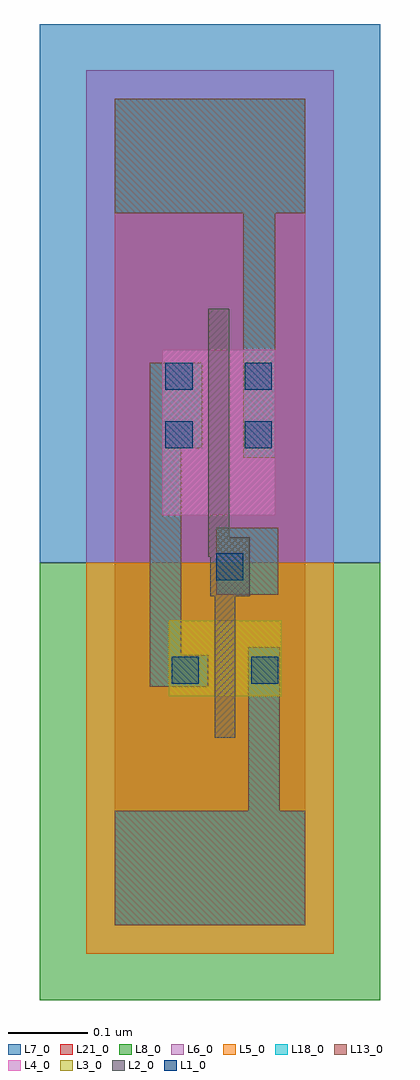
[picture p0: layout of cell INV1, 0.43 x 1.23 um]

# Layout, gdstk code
import gdstk
lib = gdstk.Library(unit=1e-6, precision=1e-09)
def R(c, l, rs):  # rectangles x0, y0, x1, y1
    for r in rs: c.add(gdstk.rectangle(r[:2], r[2:], *l))
L1_0 = (1, 0)
L2_0 = (2, 0)
L3_0 = (3, 0)
L4_0 = (4, 0)
L5_0 = (5, 0)
L6_0 = (6, 0)
L7_0 = (7, 0)
L8_0 = (8, 0)
L13_0 = (13, 0)
L18_0 = (18, 0)
L21_0 = (21, 0)

inv1 = lib.new_cell('INV1')
R(inv1, L1_0, [(0.072,0.304,0.106,0.338), (0.172,0.304,0.206,0.338), (0.128,0.434,0.162,0.468), (0.064,0.6,0.098,0.634), (0.164,0.6,0.198,0.634), (0.064,0.674,0.098,0.708), (0.164,0.674,0.198,0.708)])
R(inv1, L2_0, [(0.126,0.236,0.152,0.436), (0.126,0.412,0.15,0.436), (0.126,0.412,0.15,0.438), (0.12,0.414,0.17,0.488), (0.126,0.414,0.15,0.438), (0.118,0.464,0.144,0.776), (0.12,0.464,0.144,0.488)])
R(inv1, L3_0, [(0.068,0.288,0.11,0.384), (0.068,0.288,0.21,0.384), (0.168,0.288,0.21,0.384)])
R(inv1, L4_0, [(0.06,0.516,0.102,0.724), (0.06,0.516,0.202,0.724), (0.16,0.516,0.202,0.724)])
R(inv1, L5_0, [(-0.036,-0.036,0.276,0.456)])
R(inv1, L6_0, [(-0.036,0.456,0.276,1.076)])
R(inv1, L7_0, [(-0.094,0.456,0.334,1.134)])
R(inv1, L8_0, [(-0.094,-0.094,0.334,0.456)])
R(inv1, L13_0, [(0,0,0.24,0.144), (0.168,0.104,0.208,0.332), (0.168,0.292,0.208,0.332), (0.168,0.292,0.208,0.332), (0.168,0.292,0.208,0.332), (0.168,0.292,0.208,0.332), (0.168,0.292,0.208,0.35), (0.044,0.3,0.084,0.34), (0.044,0.3,0.084,0.34), (0.044,0.3,0.084,0.64), (0.044,0.3,0.112,0.34), (0.06,0.3,0.1,0.34), (0.06,0.3,0.118,0.34), (0.128,0.416,0.206,0.5), (0.162,0.588,0.202,0.72), (0.044,0.6,0.11,0.708), (0.162,0.68,0.202,0.72), (0.162,0.68,0.202,0.72), (0.162,0.68,0.202,0.72), (0.162,0.68,0.202,0.72), (0.162,0.68,0.202,0.936), (0,0.896,0.24,1.04)])
R(inv1, L18_0, [(0,0,0.24,0.144), (0.168,0.104,0.208,0.332), (0.168,0.292,0.208,0.332), (0.168,0.292,0.208,0.332), (0.168,0.292,0.208,0.332), (0.168,0.292,0.208,0.332), (0.168,0.292,0.208,0.35), (0.044,0.3,0.112,0.34), (0.044,0.3,0.084,0.34), (0.044,0.3,0.084,0.34), (0.044,0.3,0.084,0.64), (0.06,0.3,0.118,0.34), (0.06,0.3,0.1,0.34), (0.06,0.3,0.1,0.34), (0.128,0.416,0.206,0.5), (0.14,0.46,0.18,0.5), (0.162,0.588,0.202,0.72), (0.044,0.6,0.11,0.708), (0.162,0.68,0.202,0.72), (0.162,0.68,0.202,0.72), (0.162,0.68,0.202,0.72), (0.162,0.68,0.202,0.72), (0.162,0.68,0.202,0.936), (0,0.896,0.24,1.04)])
R(inv1, L21_0, [(0,0,0.24,1.04)])

lib.write_gds('INV1.gds')
